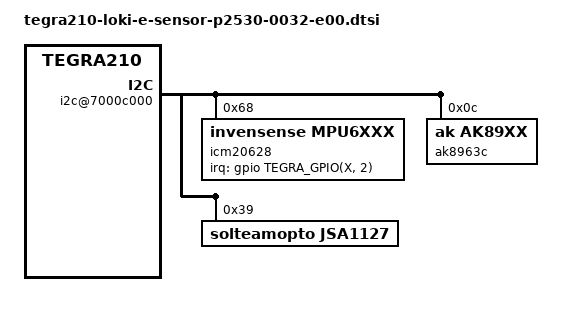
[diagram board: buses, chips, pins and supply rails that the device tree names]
#include <dt-bindings/gpio/tegra-gpio.h>

/ {
	i2c@7000c000 {
		icm20628@68 {
			compatible = "invensense,mpu6xxx";
			reg = <0x68>;
			interrupt-parent = <&gpio>;
			interrupts = <TEGRA_GPIO(X, 2) 0x00>;
			invensense,orientation = [ff 00 00 00 01 00 00 00 ff];
		};

		ak8963c@0c {
			compatible = "ak,ak89xx";
			reg = <0x0c>;
			orientation = [01 00 00 00 ff 00 00 00 ff];
		};

		jsa1127@39 {
			compatible = "solteamopto,jsa1127";
			reg = <0x39>;
			light_hyb_maxrange_ival = <63>;
			light_hyb_maxrange_fval = <0>;
			light_hyb_resolution_ival = <6>;
			light_hyb_resolution_fval = <850000>;
			light_hyb_interval = <5000>;
		};
	};

};
